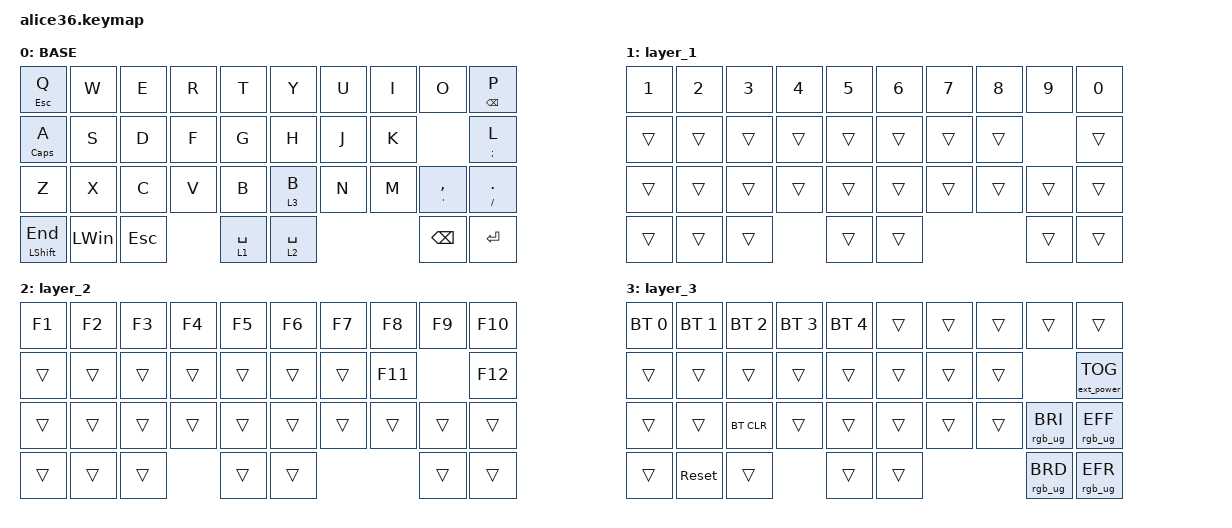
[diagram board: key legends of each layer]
#include <behaviors.dtsi>
#include <dt-bindings/zmk/bt.h>
#include <dt-bindings/zmk/ext_power.h>
#include <dt-bindings/zmk/keys.h>
#include <dt-bindings/zmk/rgb.h>

/ {
    keymap {
        compatible = "zmk,keymap";

        base_layer {
            label = "BASE";
            bindings = <
&mt ESC Q       &kp W         &kp E    &kp R  &kp T        &kp Y        &kp U  &kp I  &kp O                   &mt BACKSPACE P
&mt CAPSLOCK A  &kp S         &kp D    &kp F  &kp G        &kp H        &kp J  &kp K                          &mt SEMICOLON L
&kp Z           &kp X         &kp C    &kp V  &kp B        &lt 3 B      &kp N  &kp M  &mt SINGLE_QUOTE COMMA  &mt SLASH DOT
&mt LSHIFT END  &kp LEFT_WIN  &kp ESC         &lt 1 SPACE  &lt 2 SPACE                &kp BACKSPACE           &kp ENTER
            >;
        };

        layer_1 {
            bindings = <
&kp NUMBER_1  &kp NUMBER_2  &kp NUMBER_3  &kp NUMBER_4  &kp NUMBER_5  &kp NUMBER_6  &kp NUMBER_7  &kp NUMBER_8  &kp NUMBER_9  &kp NUMBER_0
&trans        &trans        &trans        &trans        &trans        &trans        &trans        &trans                      &trans
&trans        &trans        &trans        &trans        &trans        &trans        &trans        &trans        &trans        &trans
&trans        &trans        &trans                      &trans        &trans                                    &trans        &trans
            >;
        };

        layer_2 {
            bindings = <
&kp F1  &kp F2  &kp F3  &kp F4  &kp F5  &kp F6  &kp F7  &kp F8   &kp F9  &kp F10
&trans  &trans  &trans  &trans  &trans  &trans  &trans  &kp F11          &kp F12
&trans  &trans  &trans  &trans  &trans  &trans  &trans  &trans   &trans  &trans
&trans  &trans  &trans          &trans  &trans                   &trans  &trans
            >;
        };

        layer_3 {
            bindings = <
&bt BT_SEL 0  &bt BT_SEL 1  &bt BT_SEL 2  &bt BT_SEL 3  &bt BT_SEL 4  &trans  &trans  &trans  &trans           &trans
&trans        &trans        &trans        &trans        &trans        &trans  &trans  &trans                   &ext_power EP_TOG
&trans        &trans        &bt BT_CLR    &trans        &trans        &trans  &trans  &trans  &rgb_ug RGB_BRI  &rgb_ug RGB_EFF
&trans        &sys_reset    &trans                      &trans        &trans                  &rgb_ug RGB_BRD  &rgb_ug RGB_EFR
            >;
        };
    };
};
